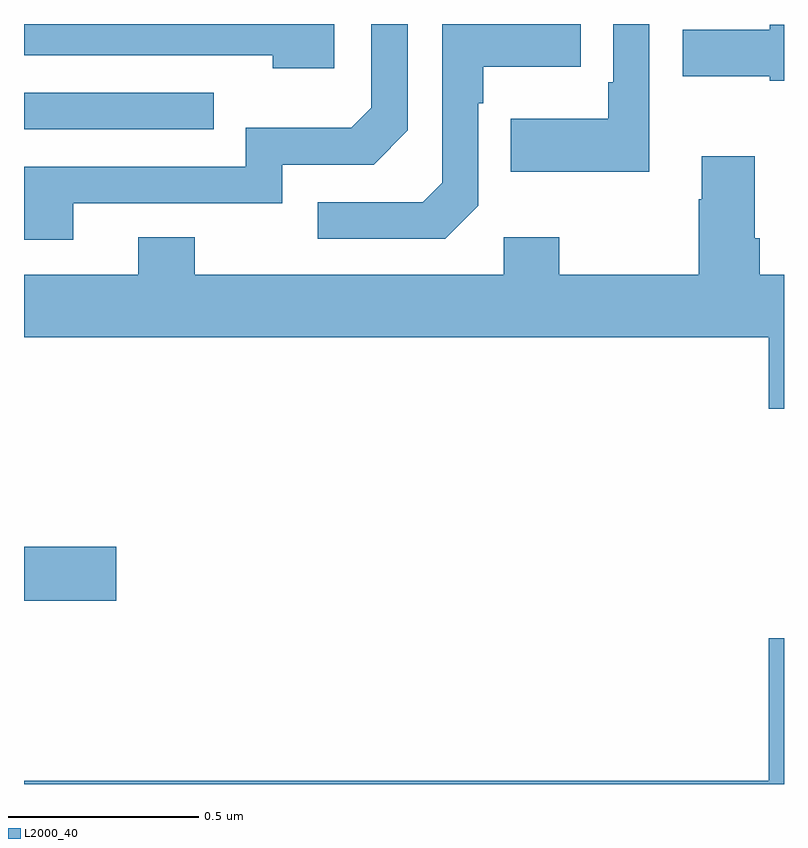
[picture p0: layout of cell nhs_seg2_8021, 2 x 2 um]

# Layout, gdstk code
import gdstk
lib = gdstk.Library(unit=1e-6, precision=1e-09)
def R(c, l, rs):  # rectangles x0, y0, x1, y1
    for r in rs: c.add(gdstk.rectangle(r[:2], r[2:], *l))
def P(c, l, *ps):  # polygons
    for p in ps: c.add(gdstk.Polygon(p, *l))
L2000_40 = (2000, 40)

nhs_seg2_8021 = lib.new_cell('nhs_seg2_8021')
R(nhs_seg2_8021, L2000_40, [(211,640.282,211.243,640.424), (211,641.523,211.499,641.619)])
P(nhs_seg2_8021, L2000_40, [(212.646,641.8),(212.55,641.8),(212.55,641.647),(212.538,641.647),(212.538,641.551),(212.281,641.551),(212.281,641.411),(212.646,641.411)],
  [(211.129,641.328),(211.68,641.328),(211.68,641.43),(211.92,641.43),(212.01,641.52),(212.01,641.8),(211.914,641.8),(211.914,641.58),(211.861,641.527),(211.584,641.527),(211.584,641.424),(211,641.424),(211,641.232),(211.129,641.232)],
  [(211.816,641.8),(211,641.8),(211,641.718),(211.655,641.718),(211.655,641.684),(211.816,641.684)],
  [(212.196,641.322),(212.196,641.591),(212.209,641.591),(212.209,641.687),(212.465,641.687),(212.465,641.8),(212.1,641.8),(212.1,641.382),(212.049,641.331),(211.773,641.331),(211.773,641.235),(212.109,641.235)],
  [(213,641.798),(212.963,641.798),(212.963,641.785),(212.733,641.785),(212.733,641.663),(212.963,641.663),(212.963,641.651),(213,641.651)],
  [(213,641.14),(212.936,641.14),(212.936,641.236),(212.923,641.236),(212.923,641.452),(212.783,641.452),(212.783,641.339),(212.776,641.339),(212.776,641.14),(212.409,641.14),(212.409,641.239),(212.262,641.239),(212.262,641.14),(211.449,641.14),(211.449,641.239),(211.301,641.239),(211.301,641.14),(211,641.14),(211,640.976),(212.96,640.976),(212.96,640.788),(213,640.788)],
  [(213,640.183),(212.96,640.183),(212.96,639.808),(211,639.808),(211,639.8),(213,639.8)])

lib.write_gds('nhs_seg2_8021.gds')
